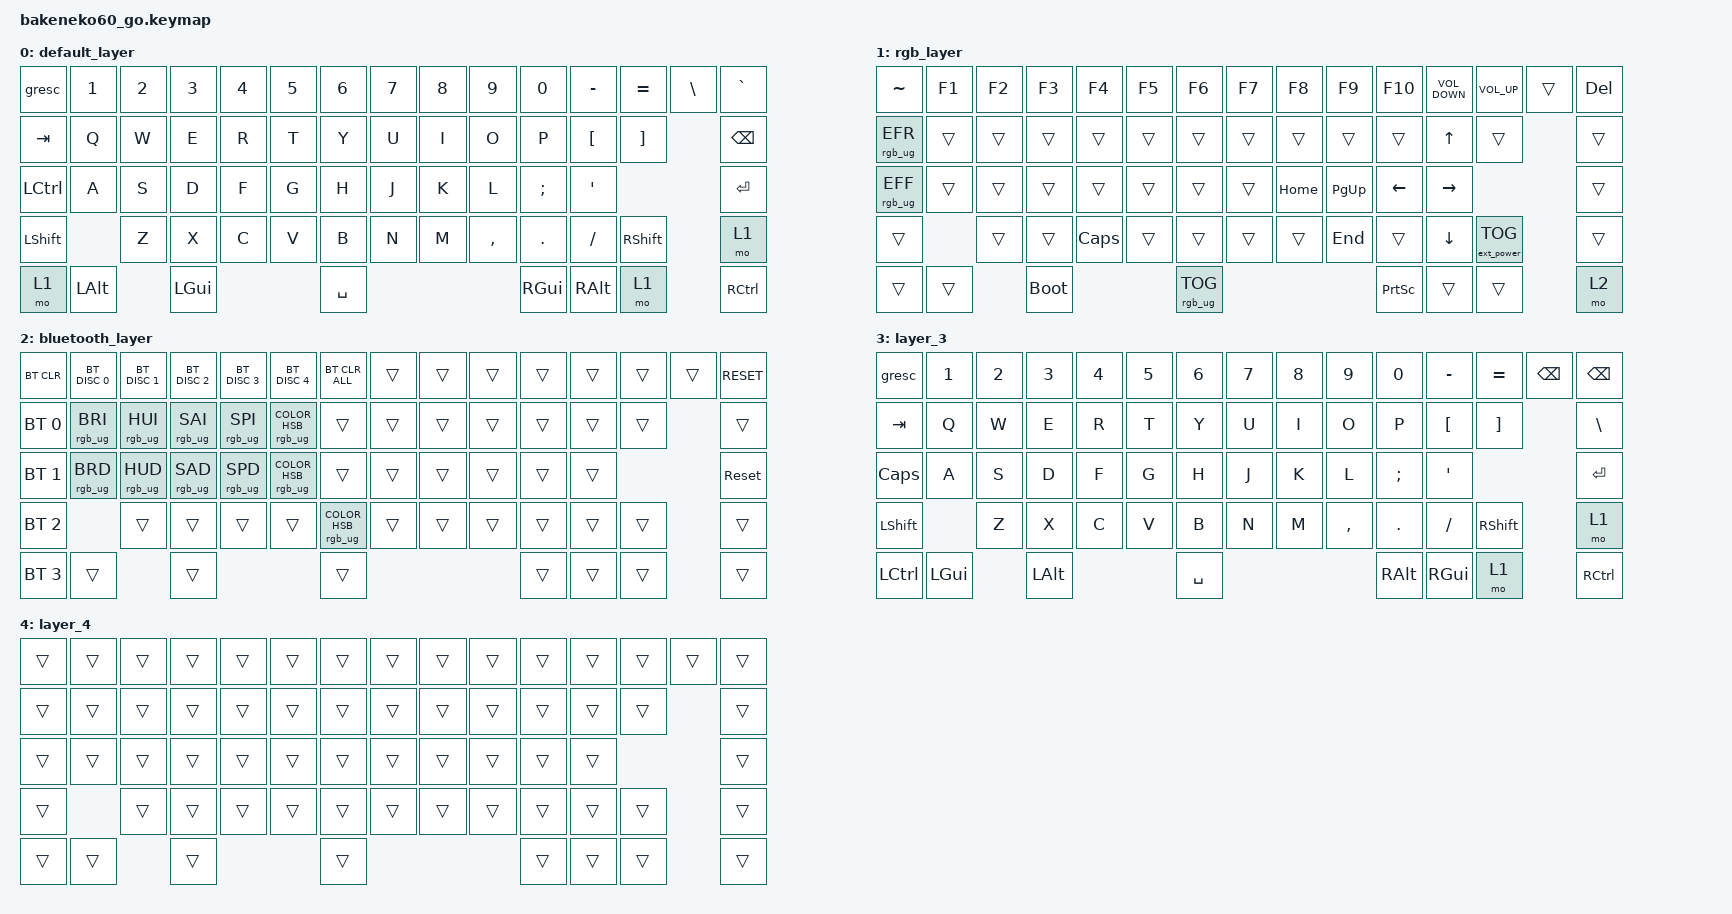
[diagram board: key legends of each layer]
/*
 * Copyright (c) 2023 Andrew Kannan
 *
 * SPDX-License-Identifier: MIT
 */

#include <behaviors.dtsi>
#include <dt-bindings/zmk/bt.h>
#include <dt-bindings/zmk/ext_power.h>
#include <dt-bindings/zmk/keys.h>
#include <dt-bindings/zmk/rgb.h>

/ {
    keymap {
        compatible = "zmk,keymap";

        default_layer {
            // ------------------------------------------------------------------------------------------
            // | ESC |  1  |  2  |  3  |  4  |  5  |  6  |  7  |  8  |  9  |  0  |  -  |  =  | BKSP|BKSP|
            // | TAB  |  Q  |  W  |  E  |  R  |  T  |  Y  |  U  |  I  |  O  |  P  |  [  |  ]  |   "|"   |
            // | CAPS  |  A  |  S  |  D  |  F  |  G  |  H  |  J  |  K  |  L  |  ;  |  '  |     ENTER    |
            // |  SHIFT  |  Z  |  X  |  C  |  V  |  B  |  N  |  M  |  ,  |  .  |  /  |  SHIFT  | MO(1)  |
            // |  CTL  |  WIN  |  ALT  |            SPACE              |  ALT  |  WIN  |  MO(1) |  CTL  |
            // ------------------------------------------------------------------------------------------

            bindings = <
&gresc     &kp N1    &kp N2  &kp N3    &kp N4  &kp N5  &kp N6     &kp N7  &kp N8  &kp N9     &kp N0         &kp MINUS      &kp EQUAL  &kp BACKSLASH  &kp GRAVE
&kp TAB    &kp Q     &kp W   &kp E     &kp R   &kp T   &kp Y      &kp U   &kp I   &kp O      &kp P          &kp LBKT       &kp RBKT                  &kp BACKSPACE
&kp LCTRL  &kp A     &kp S   &kp D     &kp F   &kp G   &kp H      &kp J   &kp K   &kp L      &kp SEMI       &kp SQT                                  &kp RET
&kp LSHFT            &kp Z   &kp X     &kp C   &kp V   &kp B      &kp N   &kp M   &kp COMMA  &kp DOT        &kp FSLH       &kp RSHFT                 &mo 1
&mo 1      &kp LALT          &kp LGUI                  &kp SPACE                             &kp RIGHT_GUI  &kp RIGHT_ALT  &mo 1                     &kp RCTRL
            >;
        };

        rgb_layer {
            // ------------------------------------------------------------------------------------------------
            // |    `   | F1  | F2  | F3  | F4  | F5  | F6  | F7  | F8  | F9  | F10  | F11 | F12 |     | DEL  |
            // | EFCT REV|   |  UP |   | HUEUP | SATUP | BRIUP | SPDUP |      |  PGUP |    |     |    |       |
            // | EFCT FWD | LT |  DN  | RT | HUEDN | SATDN | BRIDN | SPDDN | HOME | PGDN | END  |  | BOOTLDR  |
            // |             |     |      |      |     |     |     |     |     |     |     |         |        |
            // |         |      |      |             TOG RGB                | PRT SCR |       |       |  MO(2)|
            // ------------------------------------------------------------------------------------------------

            bindings = <
&kp TILDE        &kp F1  &kp F2  &kp F3       &kp F4    &kp F5  &kp F6           &kp F7  &kp F8    &kp F9       &kp F10    &kp C_VOLUME_DOWN  &kp C_VOLUME_UP    &trans  &kp DEL
&rgb_ug RGB_EFR  &trans  &trans  &trans       &trans    &trans  &trans           &trans  &trans    &trans       &trans     &kp UP_ARROW       &trans                     &trans
&rgb_ug RGB_EFF  &trans  &trans  &trans       &trans    &trans  &trans           &trans  &kp HOME  &kp PAGE_UP  &kp LEFT   &kp RIGHT                                     &trans
&trans                   &trans  &trans       &kp CLCK  &trans  &trans           &trans  &trans    &kp END      &trans     &kp DOWN           &ext_power EP_TOG          &trans
&trans           &trans          &bootloader                    &rgb_ug RGB_TOG                                 &kp PSCRN  &trans             &trans                     &mo 2
            >;
        };

        bluetooth_layer {
            // ------------------------------------------------------------------------------------------------
            // | BT CLR |     |     |     |     |     |     |     |     |     |     |    |    |       |       |
            // |  BT 1   |   |     |   |       |       |       |       |   |     |    |     |     |           |
            // |   BT 2   |    |      |    |       |       |       |       |      |      |      |  |   Reset  |
            // |    BT 3     |     |      |      |     |     |     |     |     |     |     |         |        |
            // |   BT 4  |      |      |                                    |         |       |       |       |
            // ------------------------------------------------------------------------------------------------

            bindings = <
&bt BT_CLR    &bt BT_DISC 0    &bt BT_DISC 1    &bt BT_DISC 2    &bt BT_DISC 3    &bt BT_DISC 4                    &bt BT_CLR_ALL                    &trans  &trans  &trans  &trans  &trans  &trans  &trans  &kp C_RESET
&bt BT_SEL 0  &rgb_ug RGB_BRI  &rgb_ug RGB_HUI  &rgb_ug RGB_SAI  &rgb_ug RGB_SPI  &rgb_ug RGB_COLOR_HSB(26,75,59)  &trans                            &trans  &trans  &trans  &trans  &trans  &trans          &trans
&bt BT_SEL 1  &rgb_ug RGB_BRD  &rgb_ug RGB_HUD  &rgb_ug RGB_SAD  &rgb_ug RGB_SPD  &rgb_ug RGB_COLOR_HSB(38,25,73)  &trans                            &trans  &trans  &trans  &trans  &trans                  &sys_reset
&bt BT_SEL 2                   &trans           &trans           &trans           &trans                           &rgb_ug RGB_COLOR_HSB(285,80,56)  &trans  &trans  &trans  &trans  &trans  &trans          &trans
&bt BT_SEL 3  &trans                            &trans                                                             &trans                                                    &trans  &trans  &trans          &trans
            >;
        };

        layer_3 {
            bindings = <
&gresc     &kp N1    &kp N2  &kp N3    &kp N4  &kp N5  &kp N6     &kp N7  &kp N8  &kp N9     &kp N0    &kp MINUS  &kp EQUAL  &kp BSPC  &kp BSPC
&kp TAB    &kp Q     &kp W   &kp E     &kp R   &kp T   &kp Y      &kp U   &kp I   &kp O      &kp P     &kp LBKT   &kp RBKT             &kp BSLH
&kp CLCK   &kp A     &kp S   &kp D     &kp F   &kp G   &kp H      &kp J   &kp K   &kp L      &kp SEMI  &kp SQT                         &kp RET
&kp LSHFT            &kp Z   &kp X     &kp C   &kp V   &kp B      &kp N   &kp M   &kp COMMA  &kp DOT   &kp FSLH   &kp RSHFT            &mo 1
&kp LCTRL  &kp LGUI          &kp LALT                  &kp SPACE                             &kp RALT  &kp RGUI   &mo 1                &kp RCTRL
            >;
        };

        layer_4 {
            bindings = <
&trans  &trans  &trans  &trans  &trans  &trans  &trans  &trans  &trans  &trans  &trans  &trans  &trans  &trans  &trans
&trans  &trans  &trans  &trans  &trans  &trans  &trans  &trans  &trans  &trans  &trans  &trans  &trans          &trans
&trans  &trans  &trans  &trans  &trans  &trans  &trans  &trans  &trans  &trans  &trans  &trans                  &trans
&trans          &trans  &trans  &trans  &trans  &trans  &trans  &trans  &trans  &trans  &trans  &trans          &trans
&trans  &trans          &trans                  &trans                          &trans  &trans  &trans          &trans
            >;
        };
    };

    combos {
        compatible = "zmk,combos";

        combo_bt {
            timeout-ms = <50>;
            key-positions = <61 62>;
            bindings = <&mo 2>;
        };
    };
};
